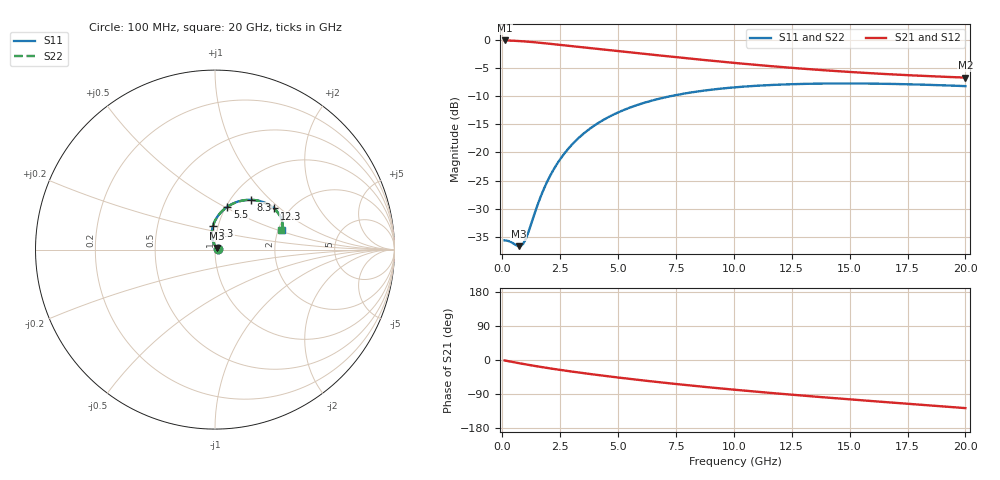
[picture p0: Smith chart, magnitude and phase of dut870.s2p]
! Touchstone file exported from HFSS 2024.1.0
!  File:  C:/UserFiles/LocalFiles/RDL_TSV_Batchsim/temp_RDL_TSV_870_1779927506.aedt
!  Generated:  08:33:31 AM May 28, 2026
!  Design:  RDL_TSV
!  Project:  temp_RDL_TSV_870_1779927506
!  Setup:  Setup1
!  Solution:  Sweep
! Variables:
!  dtsv = 9.76um
!  hbump = 3um
!  htsv = 59.63um
!  ldown = 197.29um
!  lrdl = 265.64um
!  p = 40
!  p1 = 51.62um
!  rhole = 10um
!  subl = 1654.43um
!  t = 450um
!  tdown = 2.37um
!  trdl = 2.09um
!  viad = 10um
!  wdown = 12.23um
!  wrdl = 20.22um
!  xbump = 18um
# GHz S MA R 50.000000
! Terminal data exported
! Port[1] = TM1_1_T1
! Port[2] = TM1_4_T1
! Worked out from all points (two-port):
!   200 points, 100 MHz to 20 GHz, reference 50 ohm
!   highest |S21| = -0.15 dB at 100 MHz (marker M1); lowest = -6.7 dB at 20 GHz (marker M2)
!   |S21| within 3 dB of the highest: start of sweep to 7.593 GHz
!   lowest |S11| = -36.6 dB at 700 MHz (marker M3), VSWR 1.03, Z = 51.1 + j0.97 ohm
!   |S11| at or under -10 dB: start of sweep to 7.307 GHz
!   |S22| runs from -36.6 to -7.8 dB; largest |S21 - S12| = 1.5e-14
!   S11 on the Smith chart (normalised r, x): 100 MHz: 1.03, +0.00; 3.3 GHz: 0.94, +0.26; 5.5 GHz: 1.02, +0.52; 8.3 GHz: 1.24, +0.78; 12.3 GHz: 1.67, +0.91; 20 GHz: 2.09, +0.53
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0.1  0.01658 4.5  0.9831 -1.2  0.9831 -1.2  0.01658 4.5
! Gamma 0 0 0 0
! Port Impedance 50 0 50 0
0.3  0.01626 13.6  0.981 -3.6  0.981 -3.6  0.01626 13.5
0.7  0.01471 40.1  0.9721 -8.2  0.9721 -8.2  0.01472 40.0
0.8  0.01478 50.1  0.9691 -9.3  0.9691 -9.3  0.01479 50.0
0.9  0.01543 60.8  0.966 -10.4  0.966 -10.4  0.01543 60.7
1  0.01679 71.1  0.9626 -11.5  0.9626 -11.5  0.01678 71.0
1.6  0.03768 101.8  0.9387 -17.7  0.9387 -17.7  0.0376 101.7
1.8  0.04759 103.9  0.9299 -19.7  0.9299 -19.7  0.04749 103.8
2.1  0.06382 104.2  0.9163 -22.5  0.9163 -22.5  0.06368 104.1
2.6  0.09283 101.2  0.8935 -27.0  0.8935 -27.0  0.09263 101.1
2.9  0.1107 98.5  0.8799 -29.6  0.8799 -29.6  0.1104 98.5
3.3  0.1343 94.6  0.8622 -33.0  0.8622 -33.0  0.1341 94.6
3.5  0.146 92.6  0.8535 -34.6  0.8535 -34.6  0.1457 92.6
4.4  0.1958 83.7  0.8156 -41.7  0.8156 -41.7  0.1954 83.7
5.5  0.2489 73.9  0.7719 -49.8  0.7719 -49.8  0.2484 73.8
6.8  0.2998 63.7  0.7236 -58.8  0.7236 -58.8  0.2991 63.7
8.3  0.3435 53.9  0.6727 -68.3  0.6727 -68.3  0.3427 53.8
10.1  0.3782 44.3  0.6194 -78.8  0.6194 -78.8  0.3774 44.2
12.3  0.401 34.9  0.566 -90.6  0.566 -90.6  0.4001 34.8
13.4  0.4063 31.0  0.5439 -96.1  0.5439 -96.1  0.4053 30.9
16.7  0.4051 22.0  0.4932 -111.8  0.4932 -111.8  0.404 21.9
20  0.3868 16.3  0.4605 -127.0  0.4605 -127.0  0.3857 16.2
